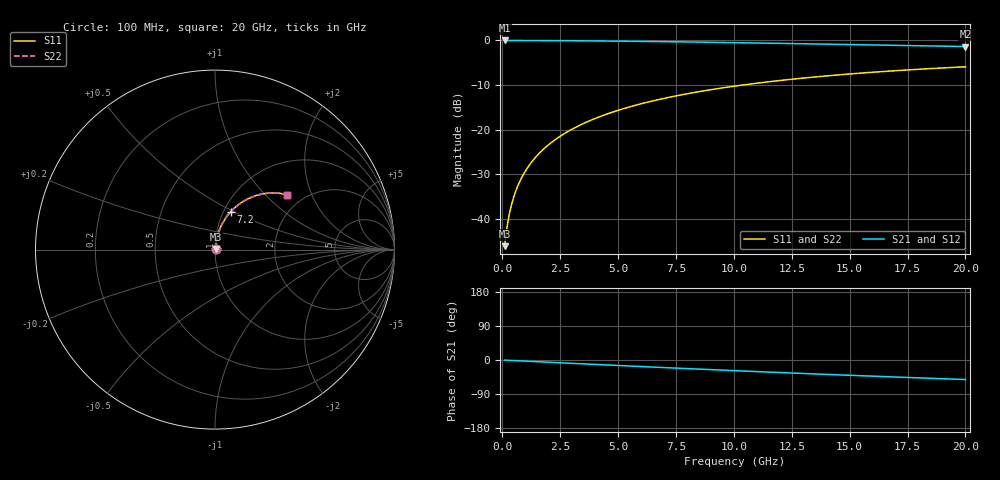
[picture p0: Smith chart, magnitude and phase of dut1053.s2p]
! Touchstone file exported from HFSS 2026.1.0
!  File:  C:/ffzhzh/LocalFiles/Ansys_Project_Files/temp_train_TMRDL_1053_1783160422_18472.aedt
!  Generated:  06:21:53 PM Jul  4, 2026
!  Design:  TMRDL
!  Project:  temp_train_TMRDL_1053_1783160422_18472
! Variables:
!  h_bsmrdl = 2um
!  h_ox = 20um
!  h_rdl = 5um
!  h_sub = 80um
!  h_tmrdl = 4.06um
!  h_tsv = 80um
!  h_via = 3um
!  l_bsmrdl = 300um
!  l_sub = 1140.11um
!  l_tmrdl = 740.11um
!  m_sub = 200um
!  pitch = 57.12um
!  r_tsv = 6um
!  s_tmrdl = 10um
!  w_bsmrdl = 18um
!  w_sub = 500um
!  w_tmrdl = 20.06um
!  x_tsv_center1 = 750.14um
!  x_tsv_center2 = 1068.14um
!  x_tsv_center3 = 1828.31um
!  x_tsv_center4 = 2146.31um
!  x_tsv_center5 = 2906.48um
!  x_tsv_center6 = 3224.48um
# GHz S MA R 50.000000
! Terminal data exported
! Port[1] = TM_RDL1_1_T1
! Port[2] = TM_RDL1_1_T2
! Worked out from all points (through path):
!   200 points, 100 MHz to 20 GHz, reference 50 ohm
!   highest |S21| = -0.03 dB at 100 MHz (marker M1); lowest = -1.4 dB at 20 GHz (marker M2)
!   group delay of S21, straight-line fit = 7.16 ps
!   lowest |S11| = -46.1 dB at 100 MHz (marker M3), VSWR 1.01, Z = 50.3 + j0.361 ohm
!   |S11| at or under -10 dB: start of sweep to 10.41 GHz
!   |S22| runs from -46.1 to -5.9 dB; largest |S21 - S12| = 1.1e-14
!   S11 on the Smith chart (normalised r, x): 100 MHz: 1.01, +0.01; 7.2 GHz: 1.08, +0.48; 20 GHz: 1.65, +1.36
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0.1  0.004929 46.7  0.9966 -0.3  0.9966 -0.3  0.004929 46.7
! Gamma 0 0 0 0
! Port Impedance 50 0 50 0
0.2  0.007941 63.2  0.9965 -0.6  0.9965 -0.6  0.007941 63.2
0.3  0.01118 70.0  0.9963 -0.9  0.9963 -0.9  0.01118 70.0
0.4  0.01445 73.6  0.9961 -1.2  0.9961 -1.2  0.01445 73.6
0.5  0.01774 75.9  0.996 -1.5  0.996 -1.5  0.01774 75.9
0.7  0.02435 78.4  0.9957 -2.1  0.9957 -2.1  0.02435 78.4
1  0.03433 80.1  0.9953 -3.0  0.9953 -3.0  0.03433 80.1
1.2  0.041 80.5  0.9949 -3.6  0.9949 -3.6  0.041 80.5
1.4  0.04768 80.6  0.9945 -4.1  0.9945 -4.1  0.04768 80.6
1.7  0.05768 80.5  0.9939 -5.0  0.9939 -5.0  0.05768 80.5
2  0.06766 80.2  0.9931 -5.9  0.9931 -5.9  0.06766 80.2
2.7  0.09076 78.9  0.9908 -7.9  0.9908 -7.9  0.09076 78.9
3.5  0.1168 77.0  0.9875 -10.3  0.9875 -10.3  0.1168 77.0
4.2  0.1391 75.2  0.9841 -12.3  0.9841 -12.3  0.1391 75.2
5  0.1641 73.1  0.9797 -14.5  0.9797 -14.5  0.1641 73.1
6.8  0.2182 68.4  0.9679 -19.5  0.9679 -19.5  0.2182 68.4
7.2  0.2297 67.3  0.965 -20.6  0.965 -20.6  0.2297 67.3
8.6  0.2689 63.7  0.9541 -24.4  0.9541 -24.4  0.2689 63.7
10.1  0.3084 59.9  0.9415 -28.3  0.9415 -28.3  0.3084 59.9
13.4  0.3863 51.9  0.9116 -36.6  0.9116 -36.6  0.3863 51.8
16.7  0.4518 44.3  0.8809 -44.3  0.8809 -44.3  0.4518 44.3
20  0.5052 37.2  0.8516 -51.5  0.8516 -51.5  0.5052 37.2
